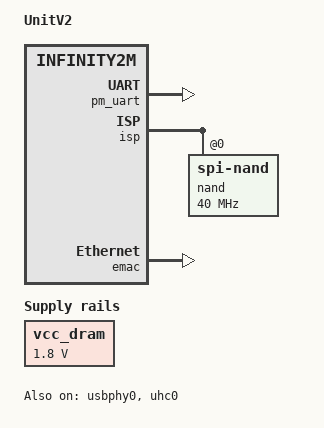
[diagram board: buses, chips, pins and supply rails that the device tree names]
// SPDX-License-Identifier: GPL-2.0-or-later
/*
 * Copyright (c) 2021 thingy.jp.
 * Author: Daniel Palmer <daniel@thingy.jp>
 */

/dts-v1/;
#include "mstar-infinity2m-ssd202d.dtsi"

/ {
	model = "UnitV2";
	compatible = "m5stack,unitv2", "mstar,infinity2m";

	aliases {
		serial0 = &pm_uart;
	};

	chosen {
		stdout-path = "serial0:115200n8";
		bootargs = "console=ttyS0,115200 clk_ignore_unused";
	};

	vcc_dram: regulator@0 {
		compatible = "regulator-fixed";
		regulator-name = "vcc_dram";
		regulator-min-microvolt = <1800000>;
		regulator-max-microvolt = <1800000>;
		regulator-boot-on;
	};
};

&pm_uart {
	status = "okay";
};

&isp {
	status = "okay";
	nand: nand@0 {
		#address-cells = <1>;
		#size-cells = <1>;
		compatible = "spi-nand";
		reg = <0>;
		spi-max-frequency = <40000000>;
		spi-rx-bus-width = <4>;
	};
};

&usbphy0 {
	status = "okay";
};

&uhc0 {
	status = "okay";
};

//&usbphy1 {
//	status = "okay";
//};

//&uhc1 {
//	status = "okay";
//};

&emac {
	status = "okay";
};

&miu {
	ddr-supply = <&vcc_dram>;
};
